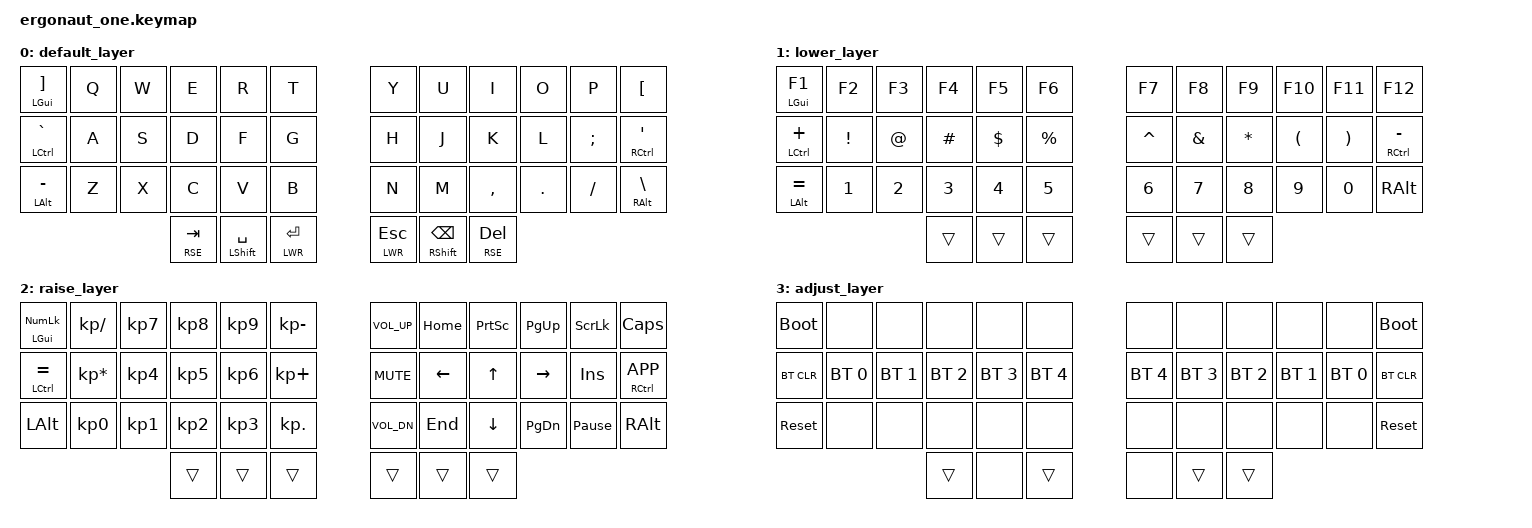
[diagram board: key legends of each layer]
#include <behaviors.dtsi>
#include <dt-bindings/zmk/keys.h>
#include <dt-bindings/zmk/bt.h>
include "zmk-helpers/helper.h"

#define DEF 0
#define LWR 1
#define RSE 2
#define ADJ 3

#define QUICK_TAP_MS 200

&lt {
  flavor = "balanced";
  tapping-term-ms = <200>;
  quick-tap-ms = <QUICK_TAP_MS>;
};

/* Homerow mods */

#define KEYS_L LT0 LT1 LT2 LT3 LT4 LT5 LM0 LM1 LM2 LM3 LM4 LM5 LB0 LB1 LB2 LB3 LB4 LB5
#define KEYS_R RT0 RT1 RT2 RT3 RT4 RT5 RM0 RM1 RM2 RM3 RM4 RM5 RB0 RB1 RB2 RB3 RB4 LB5
#define THUMBS LH2 LH1 LH0 RH0 RH1 RH2


#define MAKE_HRM(NAME, HOLD, TAP, TRIGGER_POS)                                 \
  ZMK_HOLD_TAP(NAME, bindings = <HOLD>, <TAP>; flavor = "balanced";            \
               tapping-term-ms = <280>; quick-tap-ms = <QUICK_TAP_MS>;         \
               require-prior-idle-ms = <175>; hold-trigger-on-release;         \
               hold-trigger-key-positions = <TRIGGER_POS>;)

MAKE_HRM(hml, &kp, &kp, KEYS_R THUMBS) // Left-hand HRMs.
MAKE_HRM(hmr, &kp, &kp, KEYS_L THUMBS) // Right-hand HRMs.

/ {
    conditional_layers {
        compatible = "zmk,conditional-layers";

        tri-layer {
            if-layers = <1 2>;
            then-layer = <3>;
        };
    };

    keymap {
        compatible = "zmk,keymap";

        default_layer {
            bindings = <
                &mt LGUI RBKT     &kp Q   &kp W   &kp E         &kp R             &kp T         &kp Y         &kp U            &kp I         &kp O     &kp P      &kp LBKT       
                &mt LCTRL GRAVE   &kp A   &kp S   &kp D         &kp F             &kp G         &kp H         &kp J            &kp K         &kp L     &kp SEMI   &mt RCTRL SQT
                &mt LALT MINUS    &kp Z   &kp X   &kp C         &kp V             &kp B         &kp N         &kp M            &kp COMMA     &kp DOT   &kp FSLH   &mt RALT BSLH
                                                  &lt RSE TAB   &mt LSHFT SPACE   &lt LWR RET   &lt LWR ESC   &mt RSHFT BSPC   &lt RSE DEL
            >;
        };
        lower_layer {
            bindings = <
                &mt LGUI F1      &kp F2     &kp F3   &kp F4        &kp F5     &kp F6      &kp F7      &kp F8     &kp F9        &kp F10    &kp F11    &kp F12           
                &mt LCTRL PLUS   &kp EXCL   &kp AT   &kp HASH      &kp DLLR   &kp PRCNT   &kp CARET   &kp AMPS   &kp STAR      &kp LPAR   &kp RPAR   &mt RCTRL MINUS
                &mt LALT EQUAL   &kp N1     &kp N2   &kp N3        &kp N4     &kp N5      &kp N6      &kp N7     &kp N8        &kp N9     &kp N0     &kp RALT
                                                     &trans        &trans     &trans      &trans      &trans     &trans
            >;
        };

        raise_layer {
            bindings = <
                &mt LGUI KP_NUM   &kp KP_SLASH      &kp KP_N7   &kp KP_N8   &kp KP_N9   &kp KP_MINUS   &kp C_VOL_UP   &kp HOME   &kp PSCRN   &kp PG_UP   &kp SLCK          &kp CLCK   
                &mt LCTRL EQUAL   &kp KP_MULTIPLY   &kp KP_N4   &kp KP_N5   &kp KP_N6   &kp KP_PLUS    &kp C_MUTE     &kp LEFT   &kp UP      &kp RIGHT   &kp INS           &mt RCTRL  K_APP
                &kp LALT          &kp KP_N0         &kp KP_N1   &kp KP_N2   &kp KP_N3   &kp KP_DOT     &kp C_VOL_DN   &kp END    &kp DOWN    &kp PG_DN   &kp PAUSE_BREAK   &kp RALT
                                                                &trans      &trans      &trans         &trans         &trans     &trans
            >;
        };
        adjust_layer {
            bindings = <
                &bootloader   &none          &none          &none          &none          &none          &none          &none          &none          &none          &none          &bootloader
                &bt BT_CLR    &bt BT_SEL 0   &bt BT_SEL 1   &bt BT_SEL 2   &bt BT_SEL 3   &bt BT_SEL 4   &bt BT_SEL 4   &bt BT_SEL 3   &bt BT_SEL 2   &bt BT_SEL 1   &bt BT_SEL 0   &bt BT_CLR
                &sys_reset    &none          &none          &none          &none          &none          &none          &none          &none          &none          &none          &sys_reset
                                                            &trans         &none          &trans         &none          &trans         &trans
            >;
        };
    };
};
